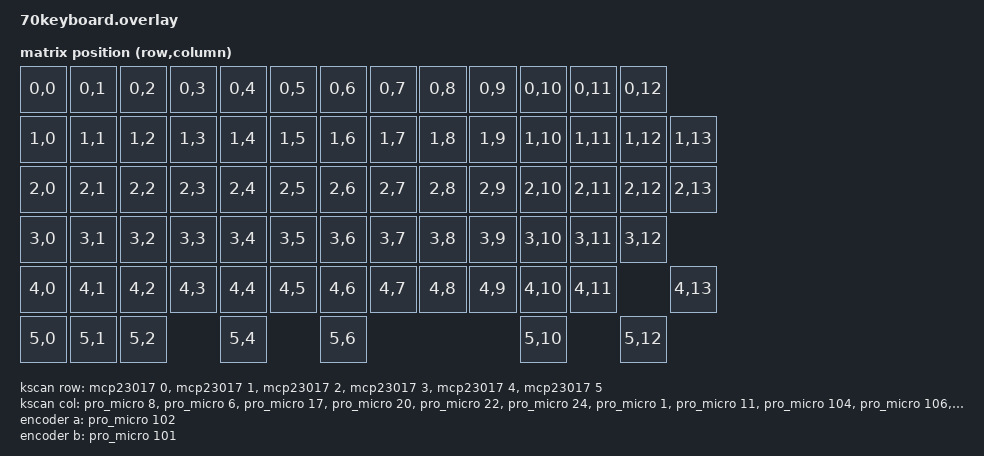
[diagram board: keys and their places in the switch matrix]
#include <dt-bindings/zmk/matrix_transform.h>

/ {
    chosen {
        zmk,kscan = &kscan;
        zmk,matrix_transform = &default_transform;
    };

    default_transform: keymap_transform_0 {
        compatible = "zmk,matrix-transform";
        columns = <14>;
        rows = <6>;
        map = <
    RC(0,0) RC(0,1) RC(0,2) RC(0,3) RC(0,4) RC(0,5) RC(0,6) RC(0,7) RC(0,8) RC(0,9) RC(0,10) RC(0,11) RC(0,12)
    RC(1,0) RC(1,1) RC(1,2) RC(1,3) RC(1,4) RC(1,5) RC(1,6) RC(1,7) RC(1,8) RC(1,9) RC(1,10) RC(1,11) RC(1,12) RC(1,13)
    RC(2,0) RC(2,1) RC(2,2) RC(2,3) RC(2,4) RC(2,5) RC(2,6) RC(2,7) RC(2,8) RC(2,9) RC(2,10) RC(2,11) RC(2,12) RC(2,13)
    RC(3,0) RC(3,1) RC(3,2) RC(3,3) RC(3,4) RC(3,5) RC(3,6) RC(3,7) RC(3,8) RC(3,9) RC(3,10) RC(3,11) RC(3,12)
    RC(4,0) RC(4,1) RC(4,2) RC(4,3) RC(4,4) RC(4,5) RC(4,6) RC(4,7) RC(4,8) RC(4,9) RC(4,10) RC(4,11)          RC(4,13)
    RC(5,0) RC(5,1) RC(5,2)         RC(5,4)         RC(5,6)                         RC(5,10)        RC(5,12)
        >;
    };

    kscan: kscan {
        compatible = "zmk,kscan-gpio-matrix";
        label = "KSCAN";
        diode-direction = "col2row";

        col-gpios
            = <&pro_micro 8 (GPIO_ACTIVE_HIGH)>
            , <&pro_micro 6 (GPIO_ACTIVE_HIGH)>
            , <&pro_micro 17 (GPIO_ACTIVE_HIGH)>
            , <&pro_micro 20 (GPIO_ACTIVE_HIGH)>
            , <&pro_micro 22 (GPIO_ACTIVE_HIGH)>
            , <&pro_micro 24 (GPIO_ACTIVE_HIGH)>
            , <&pro_micro 1 (GPIO_ACTIVE_HIGH)>
            , <&pro_micro 11 (GPIO_ACTIVE_HIGH)>
            , <&pro_micro 104 (GPIO_ACTIVE_HIGH)>
            , <&pro_micro 106 (GPIO_ACTIVE_HIGH)>
            , <&pro_micro 10 (GPIO_ACTIVE_HIGH)>
            , <&pro_micro 29 (GPIO_ACTIVE_HIGH)>
            , <&pro_micro 115 (GPIO_ACTIVE_HIGH)>
            , <&pro_micro 113 (GPIO_ACTIVE_HIGH)>
            ;

        row-gpios
            = <&mcp23017 0 (GPIO_ACTIVE_HIGH)>
            , <&mcp23017 1 (GPIO_ACTIVE_HIGH)>
            , <&mcp23017 2 (GPIO_ACTIVE_HIGH)>
            , <&mcp23017 3 (GPIO_ACTIVE_HIGH)>
            , <&mcp23017 4 (GPIO_ACTIVE_HIGH)>
            , <&mcp23017 5 (GPIO_ACTIVE_HIGH)>
            ;
    };

    encoder: encoder {
        compatible = "alps,ec11";
        label = "ROTARY_ENCODER";
        a-gpios = <&pro_micro 102 (GPIO_ACTIVE_HIGH)>;
        b-gpios = <&pro_micro 101 (GPIO_ACTIVE_HIGH)>;
        steps = <2>;
        status = "okay";
    };
};

&i2c0 {
	status = "okay";

	mcp23017: mcp23017@20 {
		compatible = "microchip,mcp23017";
		status = "okay";
		gpio-controller;
		#gpio-cells = <2>;
		reg = <0x20>;
		interrupts = <28 GPIO_ACTIVE_LOW>;
        interrupt-parent = <&pro_micro>;
	};
};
